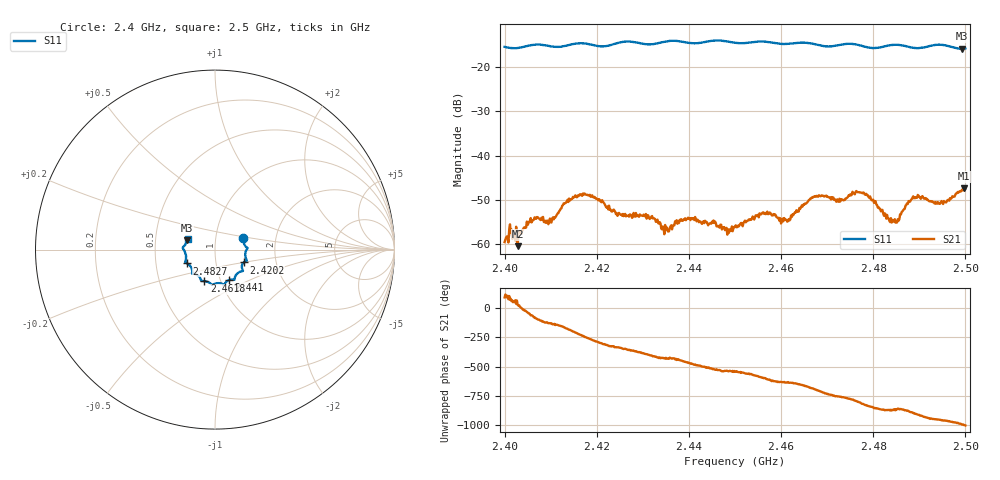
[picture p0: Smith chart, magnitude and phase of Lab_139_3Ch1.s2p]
# Hz S RI R 50
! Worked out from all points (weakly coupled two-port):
!   601 points, 2.4 GHz to 2.5 GHz, reference 50 ohm
!   highest |S21| = -47.38 dB at 2.4997 GHz (marker M1); lowest = -60.5 dB at 2.4028 GHz (marker M2)
!   lowest |S11| = -15.8 dB at 2.4993 GHz (marker M3), VSWR 1.39, Z = 36.5 + j3.81 ohm
!   |S11| at or under -10 dB: start of sweep to end of sweep
!   S12 and S22 are empty: the file has one direction only
!   S11 on the Smith chart (normalised r, x): 2.4 GHz: 1.36, +0.18; 2.4202 GHz: 1.36, -0.20; 2.441 GHz: 1.10, -0.39; 2.4618 GHz: 0.84, -0.30; 2.4827 GHz: 0.72, -0.11; 2.5 GHz: 0.73, +0.09
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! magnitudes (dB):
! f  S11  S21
! 2.4 GHz  -15.4  -59.6
! 2.4028 GHz  -15.6  -60.5
! 2.4098 GHz  -15.2  -54.3
! 2.4167 GHz  -14.5  -48.8
! 2.4202 GHz  -15.2  -49.9
! 2.4247 GHz  -14.5  -53.1
! 2.4333 GHz  -14.5  -55.3
! 2.4352 GHz  -14.1  -56.2
! 2.441 GHz  -14.6  -54.2
! 2.45 GHz  -14.4  -56.2
! 2.4565 GHz  -14.2  -53.0
! 2.4618 GHz  -14.7  -54.7
! 2.4667 GHz  -14.6  -49.5
! 2.4775 GHz  -15.1  -48.4
! 2.4827 GHz  -15.2  -53.3
! 2.4833 GHz  -15.0  -54.2
! 2.4852 GHz  -14.9  -55.2
! 2.4892 GHz  -15.6  -49.6
! 2.4947 GHz  -14.9  -50.6
! 2.4993 GHz  -15.8  -47.7
! 2.4997 GHz  -15.8  -47.4
! 2.5 GHz  -15.7  -47.6
